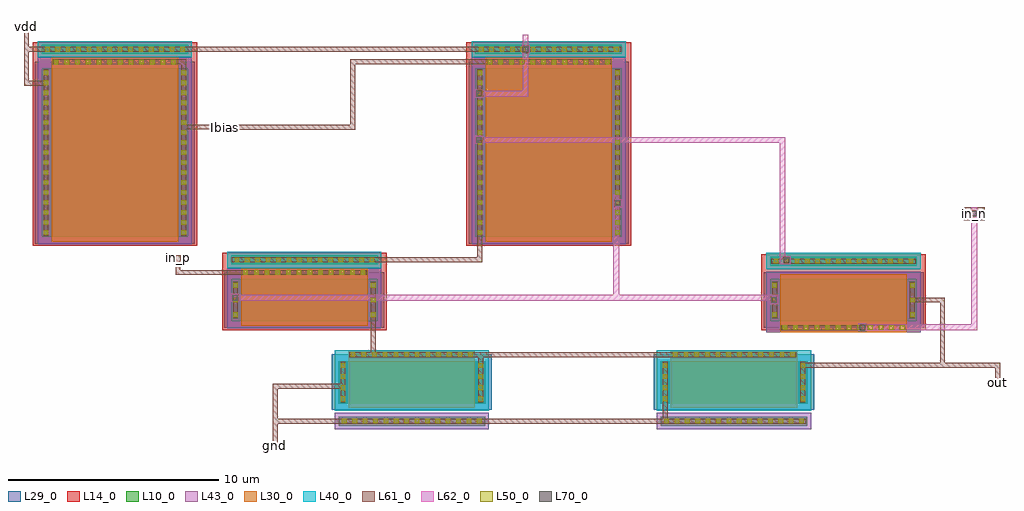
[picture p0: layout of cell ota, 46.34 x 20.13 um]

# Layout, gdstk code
import gdstk
lib = gdstk.Library(unit=1e-6, precision=1e-09)
def R(c, l, rs):  # rectangles x0, y0, x1, y1
    for r in rs: c.add(gdstk.rectangle(r[:2], r[2:], *l))
def A(c, l, x, y, w, h, nx, ny, dx, dy):  # array of equal rectangles
    R(c, l, [(x+i*dx, y+j*dy, x+i*dx+w, y+j*dy+h) for i in range(nx) for j in range(ny)])
L10_0 = (10, 0)
L14_0 = (14, 0)
L29_0 = (29, 0)
L30_0 = (30, 0)
L40_0 = (40, 0)
L43_0 = (43, 0)
L50_0 = (50, 0)
L61_0 = (61, 0)
L62_0 = (62, 0)
L70_0 = (70, 0)

p33_cdns_778130571610 = lib.new_cell('p33_CDNS_778130571610')
R(p33_cdns_778130571610, L10_0, [(-0.48,0,0,2), (0,0,6,2), (6,0,6.48,2), (-0.48,2.7,6.48,3.12)])
R(p33_cdns_778130571610, L14_0, [(-0.91,-0.43,6.91,3.24)])
R(p33_cdns_778130571610, L29_0, [(-0.8,-0.32,6.8,2.32)])
R(p33_cdns_778130571610, L30_0, [(0,-0.22,6,0), (0,0,6,2), (0,2,6,2.1), (0,2.1,6,2.52)])
R(p33_cdns_778130571610, L40_0, [(-0.66,2.52,6.66,3.3)])
R(p33_cdns_778130571610, L43_0, [(-0.66,-0.35,6.66,2.52)])
A(p33_cdns_778130571610, L50_0, -0.38, 0.19, 0.22, 0.22, 1, 3, 0, 0.7)
A(p33_cdns_778130571610, L50_0, 6.16, 0.19, 0.22, 0.22, 1, 3, 0, 0.7)
A(p33_cdns_778130571610, L50_0, 0.1, 2.2, 0.22, 0.22, 4, 1, 0.508, 0)
A(p33_cdns_778130571610, L50_0, 2.131, 2.2, 0.22, 0.22, 8, 1, 0.507, 0)
A(p33_cdns_778130571610, L50_0, 0.179, 2.8, 0.22, 0.22, 13, 1, 0.493, 0)
R(p33_cdns_778130571610, L50_0, [(-0.315,2.8,-0.095,3.02)])
R(p33_cdns_778130571610, L61_0, [(-0.385,0.13,-0.155,1.87), (6.155,0.13,6.385,1.87), (0.04,2.195,5.96,2.425), (-0.44,2.795,6.44,3.025)])
p33_cdns_778130571610.add(gdstk.Label('& Metric 1.0', (0.005,0.001), layer=63, texttype=63))
p33_cdns_778130571610.add(gdstk.Label('& Product "0.18um Mixed Signal 1.8/3.3V Enhanced Cadence PDK (ON6J)"', (0.029,0.003), layer=63, texttype=63))
p33_cdns_778130571610.add(gdstk.Label('& Vendor "Semiconductor Manufacturing International Corporation."', (0.027,0.005), layer=63, texttype=63))

p33_cdns_778130571611 = lib.new_cell('p33_CDNS_778130571611')
R(p33_cdns_778130571611, L10_0, [(-0.48,0,0,2), (0,0,6,2), (6,0,6.48,2), (-0.48,2.64,6.48,3.06)])
R(p33_cdns_778130571611, L14_0, [(-0.91,-0.43,6.91,3.18)])
R(p33_cdns_778130571611, L29_0, [(-0.8,-0.32,6.8,2.32)])
R(p33_cdns_778130571611, L30_0, [(0,-0.52,6,-0.1), (0,-0.1,6,0), (0,0,6,2), (0,2,6,2.22)])
R(p33_cdns_778130571611, L40_0, [(-0.66,2.46,6.66,3.24)])
R(p33_cdns_778130571611, L43_0, [(-0.66,-0.52,6.66,2.35)])
A(p33_cdns_778130571611, L50_0, 0.1, -0.42, 0.22, 0.22, 4, 1, 0.508, 0)
A(p33_cdns_778130571611, L50_0, 2.131, -0.42, 0.22, 0.22, 8, 1, 0.507, 0)
A(p33_cdns_778130571611, L50_0, -0.38, 0.19, 0.22, 0.22, 1, 3, 0, 0.7)
A(p33_cdns_778130571611, L50_0, 6.16, 0.19, 0.22, 0.22, 1, 3, 0, 0.7)
A(p33_cdns_778130571611, L50_0, 0.179, 2.74, 0.22, 0.22, 13, 1, 0.493, 0)
R(p33_cdns_778130571611, L50_0, [(-0.315,2.74,-0.095,2.96)])
R(p33_cdns_778130571611, L61_0, [(0.04,-0.425,5.96,-0.195), (-0.385,0.13,-0.155,1.87), (6.155,0.13,6.385,1.87), (-0.44,2.735,6.44,2.965)])
p33_cdns_778130571611.add(gdstk.Label('& Metric 1.0', (0.005,0.001), layer=63, texttype=63))
p33_cdns_778130571611.add(gdstk.Label('& Product "0.18um Mixed Signal 1.8/3.3V Enhanced Cadence PDK (ON6J)"', (0.029,0.003), layer=63, texttype=63))
p33_cdns_778130571611.add(gdstk.Label('& Vendor "Semiconductor Manufacturing International Corporation."', (0.027,0.005), layer=63, texttype=63))

n33_cdns_778130571612 = lib.new_cell('n33_CDNS_778130571612')
R(n33_cdns_778130571612, L10_0, [(-0.48,-1.06,6.48,-0.64), (-0.48,0,0,2), (0,0,6,2), (6,0,6.48,2)])
R(n33_cdns_778130571612, L29_0, [(-0.8,-0.32,6.8,2.32)])
R(n33_cdns_778130571612, L30_0, [(0,-0.22,6,0), (0,0,6,2), (0,2,6,2.1), (0,2.1,6,2.52)])
R(n33_cdns_778130571612, L40_0, [(-0.66,-0.35,6.66,2.52)])
R(n33_cdns_778130571612, L43_0, [(-0.66,-1.24,6.66,-0.46)])
A(n33_cdns_778130571612, L50_0, 0.179, -0.96, 0.22, 0.22, 13, 1, 0.493, 0)
A(n33_cdns_778130571612, L50_0, -0.38, 0.1, 0.22, 0.22, 1, 3, 0, 0.527)
A(n33_cdns_778130571612, L50_0, 6.16, 0.1, 0.22, 0.22, 1, 3, 0, 0.527)
A(n33_cdns_778130571612, L50_0, 0.1, 2.2, 0.22, 0.22, 4, 1, 0.508, 0)
A(n33_cdns_778130571612, L50_0, 2.131, 2.2, 0.22, 0.22, 8, 1, 0.507, 0)
R(n33_cdns_778130571612, L50_0, [(-0.315,-0.96,-0.095,-0.74), (-0.38,1.68,-0.16,1.9), (6.16,1.68,6.38,1.9)])
R(n33_cdns_778130571612, L61_0, [(-0.44,-0.965,6.44,-0.735), (-0.385,0.04,-0.155,1.96), (6.155,0.04,6.385,1.96), (0.04,2.195,5.96,2.425)])
n33_cdns_778130571612.add(gdstk.Label('& Metric 1.0', (0.005,0.001), layer=63, texttype=63))
n33_cdns_778130571612.add(gdstk.Label('& Product "0.18um Mixed Signal 1.8/3.3V Enhanced Cadence PDK (ON6J)"', (0.029,0.003), layer=63, texttype=63))
n33_cdns_778130571612.add(gdstk.Label('& Vendor "Semiconductor Manufacturing International Corporation."', (0.027,0.005), layer=63, texttype=63))

p33_cdns_778130571613 = lib.new_cell('p33_CDNS_778130571613')
R(p33_cdns_778130571613, L10_0, [(-0.48,0,0,8), (0,0,6,8), (6,0,6.48,8), (-0.48,8.7,6.48,9.12)])
R(p33_cdns_778130571613, L14_0, [(-0.91,-0.43,6.91,9.24)])
R(p33_cdns_778130571613, L29_0, [(-0.8,-0.32,6.8,8.32)])
R(p33_cdns_778130571613, L30_0, [(0,-0.22,6,0), (0,0,6,8), (0,8,6,8.1), (0,8.1,6,8.52)])
R(p33_cdns_778130571613, L40_0, [(-0.66,8.52,6.66,9.3)])
R(p33_cdns_778130571613, L43_0, [(-0.66,-0.35,6.66,8.52)])
A(p33_cdns_778130571613, L50_0, -0.38, 0.1, 0.22, 0.22, 1, 13, 0, 0.474)
A(p33_cdns_778130571613, L50_0, 6.16, 0.1, 0.22, 0.22, 1, 13, 0, 0.474)
A(p33_cdns_778130571613, L50_0, -0.38, 6.261, 0.22, 0.22, 1, 4, 0, 0.473)
A(p33_cdns_778130571613, L50_0, 6.16, 6.261, 0.22, 0.22, 1, 4, 0, 0.473)
A(p33_cdns_778130571613, L50_0, 0.1, 8.2, 0.22, 0.22, 4, 1, 0.508, 0)
A(p33_cdns_778130571613, L50_0, 2.131, 8.2, 0.22, 0.22, 8, 1, 0.507, 0)
A(p33_cdns_778130571613, L50_0, 0.179, 8.8, 0.22, 0.22, 13, 1, 0.493, 0)
R(p33_cdns_778130571613, L50_0, [(-0.315,8.8,-0.095,9.02)])
R(p33_cdns_778130571613, L61_0, [(-0.385,0.04,-0.155,7.96), (6.155,0.04,6.385,7.96), (0.04,8.195,5.96,8.425), (-0.44,8.795,6.44,9.025)])
p33_cdns_778130571613.add(gdstk.Label('& Metric 1.0', (0.005,0.001), layer=63, texttype=63))
p33_cdns_778130571613.add(gdstk.Label('& Product "0.18um Mixed Signal 1.8/3.3V Enhanced Cadence PDK (ON6J)"', (0.029,0.003), layer=63, texttype=63))
p33_cdns_778130571613.add(gdstk.Label('& Vendor "Semiconductor Manufacturing International Corporation."', (0.027,0.005), layer=63, texttype=63))

m2_m1_cdns_778130571610 = lib.new_cell('M2_M1_CDNS_778130571610')
R(m2_m1_cdns_778130571610, L61_0, [(-0.19,-0.19,0.19,0.19)])
R(m2_m1_cdns_778130571610, L62_0, [(-0.19,-0.19,0.19,0.19)])
R(m2_m1_cdns_778130571610, L70_0, [(-0.13,-0.13,0.13,0.13)])

ota = lib.new_cell('ota')
R(ota, L61_0, [(12,-20.9,12.23,-20.67), (46.3,-17.9,46.53,-17.67), (7.4,-12,7.63,-11.77), (44.8,-10.1,45.8,-9.5), (45.2,-9.9,45.43,-9.67), (9.6,-5.8,9.83,-5.57), (0.2,-1,0.43,-0.77)])
ota.add(gdstk.FlexPath([(16.94,-11.99),(21.83,-11.99)], 0.23, ends=(0, 0.115), simple_path=True, layer=61, datatype=0))  # L61_0
ota.add(gdstk.FlexPath([(21.83,-11.99),(21.83,-10.86)], 0.23, ends=(0.115, 0), simple_path=True, layer=61, datatype=0))  # L61_0
ota.add(gdstk.FlexPath([(43.8,-13.9),(42.255,-13.9)], 0.23, ends=(0.115, 0), simple_path=True, layer=61, datatype=0))  # L61_0
ota.add(gdstk.FlexPath([(0.3,-3.6),(1.345,-3.6)], 0.23, ends=(0.115, 0), simple_path=True, layer=61, datatype=0))  # L61_0
ota.add(gdstk.FlexPath([(0.3,-1.99),(0.3,-3.6)], 0.23, ends="extended", simple_path=True, layer=61, datatype=0))  # L61_0
ota.add(gdstk.FlexPath([(7.77,-2.59),(7.77,-2.94)], 0.23, ends=(0.115, 0), simple_path=True, layer=61, datatype=0))  # L61_0
ota.add(gdstk.FlexPath([(7.46,-2.59),(7.77,-2.59)], 0.23, ends=(0, 0.115), simple_path=True, layer=61, datatype=0))  # L61_0
ota.add(gdstk.FlexPath([(30.63,-18.76),(30.63,-19.765)], 0.23, ends="flush", simple_path=True, layer=61, datatype=0))  # L61_0
ota.add(gdstk.FlexPath([(30.46,-19.65),(22.04,-19.65)], 0.23, ends="flush", simple_path=True, layer=61, datatype=0))  # L61_0
ota.add(gdstk.FlexPath([(12.115,-20.67),(12.115,-19.65)], 0.23, ends=(0, 0.115), simple_path=True, layer=61, datatype=0))  # L61_0
ota.add(gdstk.FlexPath([(15.16,-19.65),(12.115,-19.65)], 0.23, ends=(0, 0.115), simple_path=True, layer=61, datatype=0))  # L61_0
ota.add(gdstk.FlexPath([(43.8,-17),(37.055,-17)], 0.23, ends=(0.115, 0), simple_path=True, layer=61, datatype=0))  # L61_0
ota.add(gdstk.FlexPath([(43.8,-17),(43.8,-13.9)], 0.23, ends="extended", simple_path=True, layer=61, datatype=0))  # L61_0
ota.add(gdstk.FlexPath([(46.415,-17),(43.8,-17)], 0.23, ends="extended", simple_path=True, layer=61, datatype=0))  # L61_0
ota.add(gdstk.FlexPath([(46.415,-17.67),(46.415,-17)], 0.23, ends=(0, 0.115), simple_path=True, layer=61, datatype=0))  # L61_0
ota.add(gdstk.FlexPath([(30.94,-16.49),(21.87,-16.49)], 0.23, ends=(0, 0.115), simple_path=True, layer=61, datatype=0))  # L61_0
ota.add(gdstk.FlexPath([(21.87,-16.49),(21.87,-16.84)], 0.23, ends=(0.115, 0), simple_path=True, layer=61, datatype=0))  # L61_0
ota.add(gdstk.FlexPath([(21.56,-16.49),(21.87,-16.49)], 0.23, ends=(0, 0.115), simple_path=True, layer=61, datatype=0))  # L61_0
ota.add(gdstk.FlexPath([(12.115,-18),(15.445,-18)], 0.23, ends=(0.115, 0), simple_path=True, layer=61, datatype=0))  # L61_0
ota.add(gdstk.FlexPath([(12.115,-19.65),(12.115,-18)], 0.23, ends="extended", simple_path=True, layer=61, datatype=0))  # L61_0
ota.add(gdstk.FlexPath([(16.77,-14.77),(16.77,-16.375)], 0.23, ends="flush", simple_path=True, layer=61, datatype=0))  # L61_0
ota.add(gdstk.FlexPath([(7.5,-12.59),(7.5,-11.77)], 0.23, ends=(0.115, 0), simple_path=True, layer=61, datatype=0))  # L61_0
ota.add(gdstk.FlexPath([(10.54,-12.59),(7.5,-12.59)], 0.23, ends=(0, 0.115), simple_path=True, layer=61, datatype=0))  # L61_0
ota.add(gdstk.FlexPath([(7.94,-1.99),(21.66,-1.99)], 0.23, ends="flush", simple_path=True, layer=61, datatype=0))  # L61_0
ota.add(gdstk.FlexPath([(9.83,-5.685),(7.655,-5.685)], 0.23, ends="flush", simple_path=True, layer=61, datatype=0))  # L61_0
ota.add(gdstk.FlexPath([(22.14,-2.59),(15.8,-2.59)], 0.23, ends=(0, 0.115), simple_path=True, layer=61, datatype=0))  # L61_0
ota.add(gdstk.FlexPath([(15.8,-2.59),(15.8,-5.7)], 0.23, ends="extended", simple_path=True, layer=61, datatype=0))  # L61_0
ota.add(gdstk.FlexPath([(15.8,-5.7),(9.6,-5.7)], 0.23, ends=(0.115, 0), simple_path=True, layer=61, datatype=0))  # L61_0
ota.add(gdstk.FlexPath([(0.3,-1.99),(0.3,-0.77)], 0.23, ends=(0.115, 0), simple_path=True, layer=61, datatype=0))  # L61_0
ota.add(gdstk.FlexPath([(1.06,-1.99),(0.3,-1.99)], 0.23, ends=(0, 0.115), simple_path=True, layer=61, datatype=0))  # L61_0
ota.add(gdstk.FlexPath([(24,-4.1),(24,-1.3)], 0.28, ends=(0.14, 0), simple_path=True, layer=62, datatype=0))  # L62_0
ota.add(gdstk.FlexPath([(21.8,-4.1),(24,-4.1)], 0.28, ends=(0, 0.14), simple_path=True, layer=62, datatype=0))  # L62_0
ota.add(gdstk.FlexPath([(28.3,-13.8),(36,-13.8)], 0.28, ends=(0.14, 0), simple_path=True, layer=62, datatype=0))  # L62_0
ota.add(gdstk.FlexPath([(36.2,-6.3),(36.2,-12.2)], 0.28, ends=(0.14, 0), simple_path=True, layer=62, datatype=0))  # L62_0
ota.add(gdstk.FlexPath([(21.8,-6.3),(36.2,-6.3)], 0.28, ends=(0, 0.14), simple_path=True, layer=62, datatype=0))  # L62_0
ota.add(gdstk.FlexPath([(28.3,-13.8),(28.3,-8.9)], 0.28, ends=(0.14, 0), simple_path=True, layer=62, datatype=0))  # L62_0
ota.add(gdstk.FlexPath([(10.2,-13.8),(28.3,-13.8)], 0.28, ends=(0, 0.14), simple_path=True, layer=62, datatype=0))  # L62_0
ota.add(gdstk.FlexPath([(45.3,-15.2),(45.3,-9.5)], 0.28, ends=(0.14, 0), simple_path=True, layer=62, datatype=0))  # L62_0
ota.add(gdstk.FlexPath([(40,-15.2),(45.3,-15.2)], 0.28, ends=(0, 0.14), simple_path=True, layer=62, datatype=0))  # L62_0
ota.add(gdstk.Reference(p33_cdns_778130571610, (10.5,-14.9)))
ota.add(gdstk.Reference(p33_cdns_778130571611, (36.1,-14.9)))
ota.add(gdstk.Reference(n33_cdns_778130571612, (30.9,-18.8)))
ota.add(gdstk.Reference(n33_cdns_778130571612, (15.6,-18.8)))
ota.add(gdstk.Reference(p33_cdns_778130571613, (1.5,-10.9)))
ota.add(gdstk.Reference(p33_cdns_778130571613, (22.1,-10.9)))
ota.add(gdstk.Reference(m2_m1_cdns_778130571610, (24,-2)))
ota.add(gdstk.Reference(m2_m1_cdns_778130571610, (21.8,-4.1)))
ota.add(gdstk.Reference(m2_m1_cdns_778130571610, (35.8,-13.9)))
ota.add(gdstk.Reference(m2_m1_cdns_778130571610, (21.8,-6.3)))
ota.add(gdstk.Reference(m2_m1_cdns_778130571610, (36.4,-12)))
ota.add(gdstk.Reference(m2_m1_cdns_778130571610, (28.4,-9.3)))
ota.add(gdstk.Reference(m2_m1_cdns_778130571610, (10.2,-13.8)))
ota.add(gdstk.Reference(m2_m1_cdns_778130571610, (40,-15.2)))
ota.add(gdstk.Reference(m2_m1_cdns_778130571610, (45.3,-9.8)))
ota.add(gdstk.Label('Ibias', (9.7,-5.7), layer=1, texttype=0))
ota.add(gdstk.Label('in_n', (45.3,-9.8), layer=1, texttype=0))
ota.add(gdstk.Label('in_p', (7.5,-11.9), layer=1, texttype=0))
ota.add(gdstk.Label('out', (46.4,-17.8), layer=1, texttype=0))
ota.add(gdstk.Label('gnd', (12.1,-20.8), layer=1, texttype=0))
ota.add(gdstk.Label('vdd', (0.3,-0.9), layer=1, texttype=0))

lib.write_gds('ota.gds')
